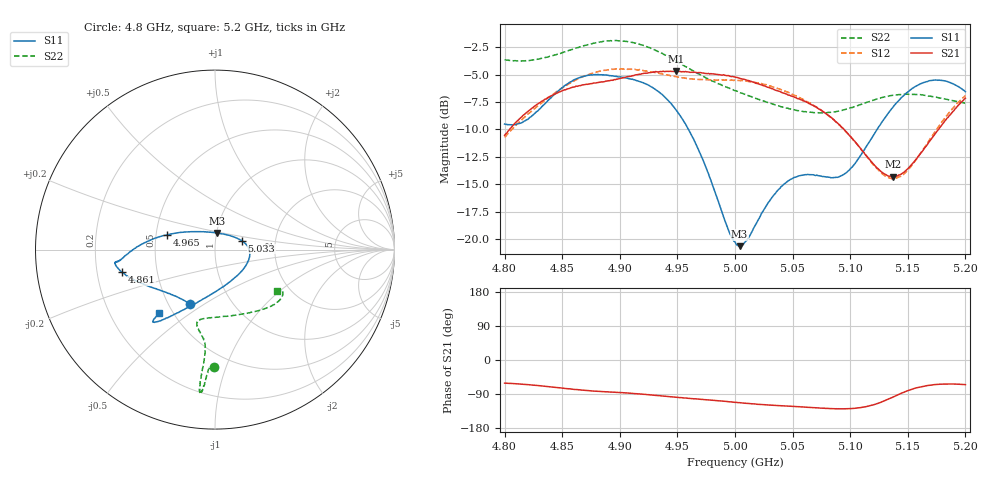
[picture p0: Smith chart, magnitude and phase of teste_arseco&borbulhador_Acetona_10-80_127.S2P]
! Network Analyzer HP8722D
! Hewlett-Packard
! Data name: Linha & Wilkinson
! Saver's name: Rodrigo Anjos
! Comments: Teste da utilização de aquisição
! continua pelo VNA HP8722D
! Time and date: 17/4/2025 15:25
!  Frequency  S11  S21  S12  S22
# HZ  S  MA R 50
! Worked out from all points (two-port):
!   401 points, 4.8 GHz to 5.2 GHz, reference 50 ohm
!   highest |S21| = -4.69 dB at 4.949 GHz (marker M1); lowest = -14.3 dB at 5.137 GHz (marker M2)
!   |S21| within 3 dB of the highest: 4.829 GHz to 5.065 GHz (236.4 MHz wide, 4.78 % of centre); 5.194866 GHz to end of sweep
!   lowest |S11| = -20.7 dB at 5.004 GHz (marker M3), VSWR 1.20, Z = 50.3 + j9.33 ohm
!   |S11| at or under -10 dB: 4.96 GHz to 5.123 GHz (163.8 MHz wide, 3.25 % of centre)
!   |S22| runs from -8.5 to -1.9 dB; largest |S21 - S12| = 0.87
!   S11 on the Smith chart (normalised r, x): 4.8 GHz: 0.64, -0.44; 4.861 GHz: 0.31, -0.11; 4.965 GHz: 0.57, +0.10; 5.033 GHz: 1.34, +0.14; 5.2 GHz: 0.42, -0.38
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4.8e9  0.3341 -114.2  0.297 -61.1  0.2906 -175.4  0.6557 -90.5
4.819e9  0.3497 -134.3  0.3775 -64.7  0.3657 -174.3  0.6517 -92.0
4.861e9  0.5341 -166.3  0.4935 -77.9  0.5294 -177.6  0.7382 -94.4
4.867e9  0.5488 -168.7  0.5036 -79.4  0.5469 -178.8  0.7566 -94.4
4.898e9  0.5494 -173.1  0.5363 -85.4  0.5952 175.2  0.8019 -95.8
4.934e9  0.4683 -178.9  0.5782 -94.2  0.5697 171.2  0.712 -96.2
4.949e9  0.3863 173.9  0.5829 -98.1  0.5505 171.7  0.6468 -95.8
4.965e9  0.2785 162.6  0.5761 -102.5  0.5349 173.2  0.5785 -95.5
5e9  0.09675 97.5  0.547 -111.8  0.5307 175.6  0.4747 -99.6
5.004e9  0.09266 82.7  0.541 -112.6  0.5276 175.5  0.4665 -100.3
5.012e9  0.1016 56.0  0.5273 -114.8  0.5223 175.2  0.4498 -102.1
5.033e9  0.1568 18.8  0.4832 -119.3  0.4932 174.0  0.4117 -103.5
5.049e9  0.1876 2.5  0.4482 -122.2  0.4594 173.5  0.3902 -99.6
5.067e9  0.1962 -16.7  0.4084 -125.4  0.4116 173.2  0.3777 -90.1
5.087e9  0.1907 -49.0  0.344 -128.8  0.3446 173.4  0.3801 -74.8
5.097e9  0.2011 -69.2  0.3059 -128.7  0.3063 174.6  0.3911 -66.6
5.122e9  0.3079 -108.2  0.2144 -116.5  0.2125 -171.1  0.4328 -49.1
5.134e9  0.3804 -117.9  0.1934 -102.2  0.1896 -155.1  0.4496 -43.1
5.137e9  0.398 -119.6  0.192 -98.1  0.1888 -150.2  0.4522 -41.7
5.15e9  0.4678 -125.4  0.2088 -81.2  0.2061 -130.7  0.4572 -36.9
5.17e9  0.5279 -129.8  0.2836 -66.2  0.2896 -112.2  0.4475 -32.3
5.2e9  0.4694 -131.4  0.4385 -65.1  0.4509 -107.2  0.4161 -33.9
